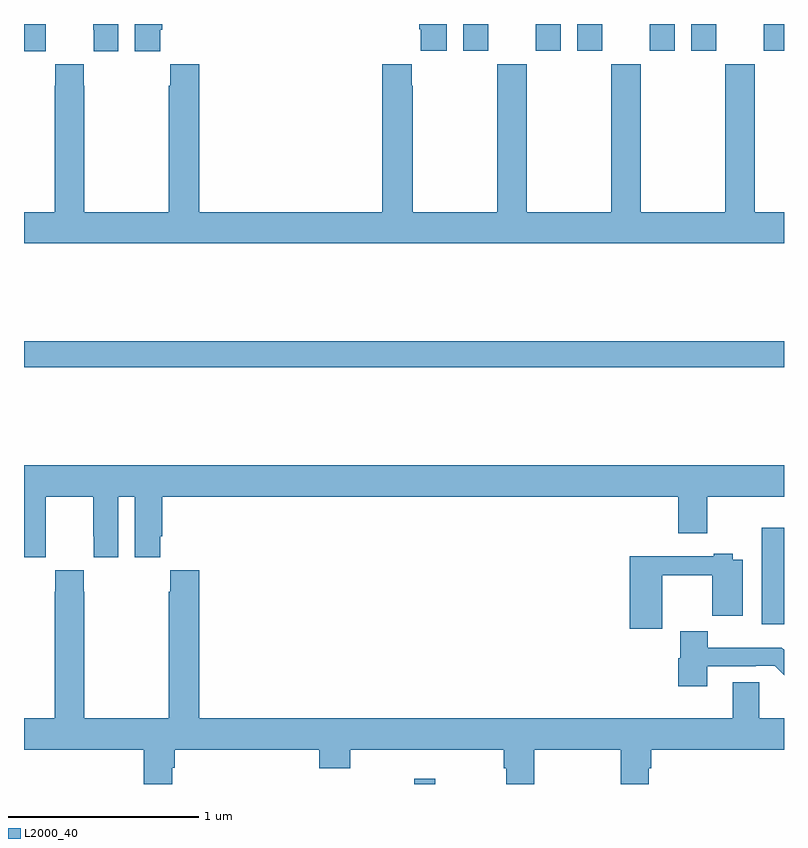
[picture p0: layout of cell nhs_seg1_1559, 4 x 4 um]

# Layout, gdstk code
import gdstk
lib = gdstk.Library(unit=1e-6, precision=1e-09)
def R(c, l, rs):  # rectangles x0, y0, x1, y1
    for r in rs: c.add(gdstk.rectangle(r[:2], r[2:], *l))
def P(c, l, *ps):  # polygons
    for p in ps: c.add(gdstk.Polygon(p, *l))
L2000_40 = (2000, 40)

nhs_seg1_1559 = lib.new_cell('nhs_seg1_1559')
R(nhs_seg1_1559, L2000_40, [(197.055,570.199,197.164,570.226), (198.884,571.041,199,571.549), (195,572.392,199,572.528), (197.312,574.059,197.443,574.199), (197.693,574.059,197.824,574.199), (197.912,574.059,198.043,574.199), (198.293,574.059,198.424,574.199), (198.512,574.059,198.643,574.199), (198.893,574.059,199,574.199)])
P(nhs_seg1_1559, L2000_40, [(197.224,574.199),(197.081,574.199),(197.081,574.171),(197.087,574.171),(197.087,574.059),(197.224,574.059)],
  [(195.718,574.168),(195.728,574.168),(195.728,574.199),(195.584,574.199),(195.584,574.056),(195.718,574.056)],
  [(195.496,574.199),(195.365,574.199),(195.365,574.168),(195.366,574.168),(195.366,574.056),(195.496,574.056)],
  [(195.114,574.168),(195.115,574.168),(195.115,574.199),(195,574.199),(195,574.056),(195.114,574.056)],
  [(199,573.208),(198.846,573.208),(198.846,573.988),(198.691,573.988),(198.691,573.208),(198.246,573.208),(198.246,573.988),(198.091,573.988),(198.091,573.208),(197.646,573.208),(197.646,573.988),(197.491,573.988),(197.491,573.208),(197.046,573.208),(197.046,573.875),(197.041,573.875),(197.041,573.988),(196.886,573.988),(196.886,573.208),(195.923,573.208),(195.923,573.988),(195.769,573.988),(195.769,573.875),(195.763,573.875),(195.763,573.208),(195.318,573.208),(195.318,573.875),(195.315,573.875),(195.315,573.988),(195.165,573.988),(195.165,573.875),(195.163,573.875),(195.163,573.208),(195,573.208),(195,573.044),(199,573.044)],
  [(195.114,571.504),(195.115,571.504),(195.115,571.712),(195.365,571.712),(195.365,571.504),(195.366,571.504),(195.366,571.392),(195.496,571.392),(195.496,571.712),(195.584,571.712),(195.584,571.392),(195.718,571.392),(195.718,571.504),(195.728,571.504),(195.728,571.712),(198.443,571.712),(198.443,571.518),(198.595,571.518),(198.595,571.712),(199,571.712),(199,571.876),(195,571.876),(195,571.392),(195.114,571.392)],
  [(198.358,571.297),(198.622,571.297),(198.622,571.085),(198.784,571.085),(198.784,571.378),(198.729,571.378),(198.729,571.411),(198.629,571.411),(198.629,571.398),(198.188,571.398),(198.188,571.017),(198.358,571.017)],
  [(195.923,571.324),(195.769,571.324),(195.769,571.211),(195.763,571.211),(195.763,570.544),(195.318,570.544),(195.318,571.211),(195.315,571.211),(195.315,571.324),(195.165,571.324),(195.165,571.211),(195.163,571.211),(195.163,570.544),(195,570.544),(195,570.38),(195.629,570.38),(195.629,570.199),(195.781,570.199),(195.781,570.284),(195.794,570.284),(195.794,570.38),(196.553,570.38),(196.553,570.281),(196.718,570.281),(196.718,570.38),(197.525,570.38),(197.525,570.282),(197.537,570.282),(197.537,570.199),(197.685,570.199),(197.685,570.38),(198.142,570.38),(198.142,570.199),(198.289,570.199),(198.289,570.282),(198.302,570.282),(198.302,570.38),(199,570.38),(199,570.544),(198.871,570.544),(198.871,570.734),(198.731,570.734),(198.731,570.544),(195.923,570.544)],
  [(198.595,570.819),(198.851,570.819),(198.851,570.822),(198.95,570.822),(199,570.772),(199,570.905),(198.989,570.916),(198.598,570.916),(198.598,571.003),(198.455,571.003),(198.455,570.861),(198.443,570.861),(198.443,570.714),(198.595,570.714)])

lib.write_gds('nhs_seg1_1559.gds')
